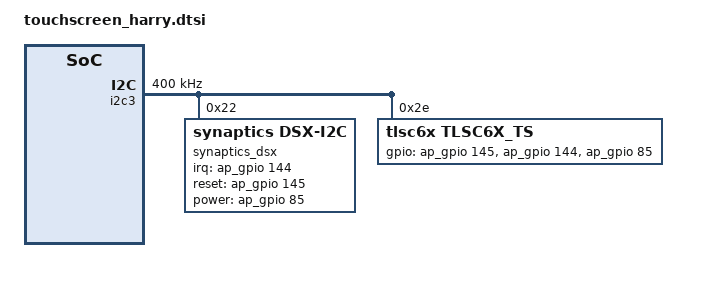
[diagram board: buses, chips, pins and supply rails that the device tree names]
&i2c3 {
	status = "okay";
	clock-frequency = <400000>;
	synaptics_dsx@22 {
		compatible = "synaptics,dsx-i2c";
		reg = <0x22>;
		synaptics,irq-gpio = <&ap_gpio 144 0x2008>;
		synaptics,reset-gpio = <&ap_gpio 145 0>;
		synaptics,power-gpio = <&ap_gpio 85 0>;
		synaptics,power-on-state = <1>;
		synaptics,irq-on-state = <0>;
		synaptics,reset-on-state = <0>;
		synaptics,power-delay-ms = <100>;
		synaptics,reset-delay-ms = <100>;
		synaptics,reset-active-ms = <20>;
	};

	tlsc6x_ts@2e {
		compatible = "tlsc6x,tlsc6x_ts";
		reg = <0x2e>;
		gpios = <&ap_gpio 145 0
			&ap_gpio 144 0
			&ap_gpio 85 0>;
		TP_MAX_X = <719>;
		TP_MAX_Y = <1439>;
	};
};

